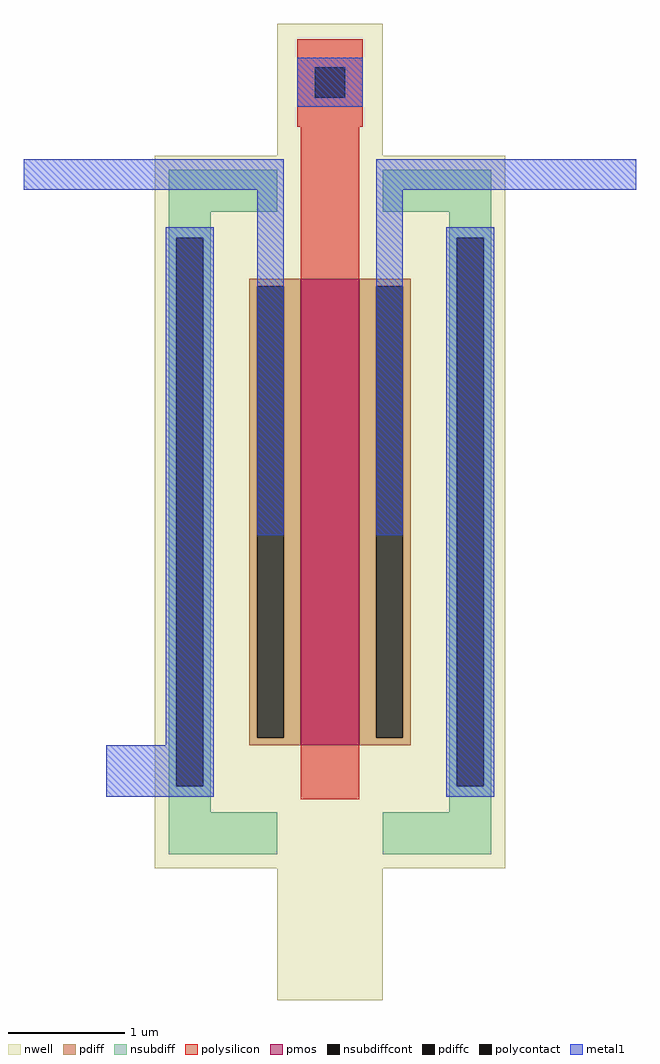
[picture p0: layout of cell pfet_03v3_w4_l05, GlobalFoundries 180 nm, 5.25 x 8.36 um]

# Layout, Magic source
magic
tech gf180mcuD
magscale 1 10
<< nwell >>
rect -300 -610 300 610
rect -90 400 90 836
rect -90 -836 90 -400
<< pmos >>
rect -50 -400 50 400
<< pdiff >>
rect -138 387 -50 400
rect -138 -387 -125 387
rect -79 -387 -50 387
rect -138 -400 -50 -387
rect 50 387 138 400
rect 50 -387 79 387
rect 125 -387 138 387
rect 50 -400 138 -387
<< pdiffc >>
rect -125 -387 -79 387
rect 79 -387 125 387
<< nsubdiff >>
rect -276 470 -204 514
rect -276 -470 -263 470
rect -217 -470 -204 470
rect 204 470 276 514
rect -276 -514 -204 -470
rect 204 -470 217 470
rect 263 -470 276 470
rect 204 -514 276 -470
rect -276 514 -90 586
rect 90 514 276 586
rect -276 -586 -90 -514
rect 90 -586 276 -514
<< nsubdiffcont >>
rect -263 -470 -217 470
rect 217 -470 263 470
<< polysilicon >>
rect -50 -492 50 670
rect -56 660 56 810
<< polycontact >>
rect -26 710 26 762
<< metal1 >>
rect -56 694 56 778
rect -125 -40 -79 552
rect -525 552 -79 604
rect 79 -40 125 552
rect 79 552 525 604
rect -281 -488 -199 488
rect 199 -488 281 488
rect -383 -488 -199 -400
<< properties >>
<< end >>
<< via1 >>
rect -26 710 26 762
<< metal2 >>
rect -52 700 52 784
<< properties >>
<< end >>
